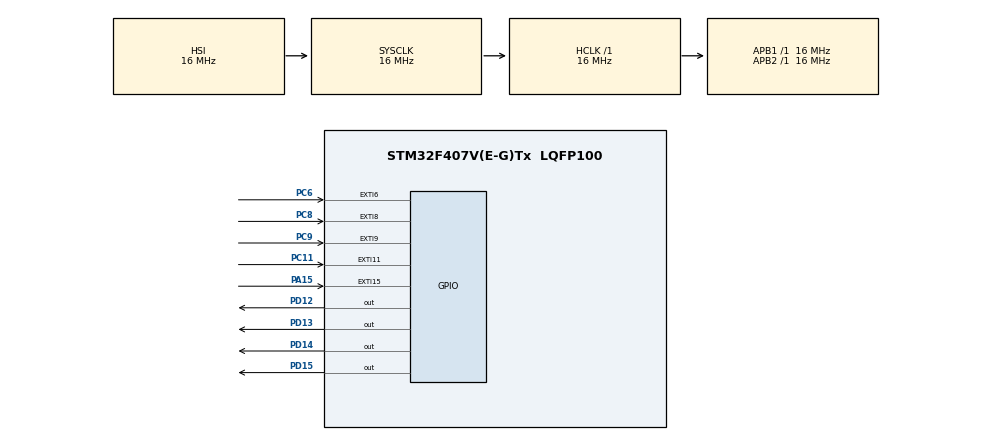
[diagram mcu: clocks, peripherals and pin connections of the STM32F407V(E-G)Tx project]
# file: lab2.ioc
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Mcu.Family=STM32F4
Mcu.Name=STM32F407V(E-G)Tx
Mcu.Package=LQFP100
NVIC.EXTI15_10_IRQn=true\:0\:0\:false\:false\:true\:true\:true
NVIC.EXTI9_5_IRQn=true\:0\:0\:false\:false\:true\:true\:true
NVIC.PriorityGroup=NVIC_PRIORITYGROUP_4
PA15.Signal=GPXTI15
PC11.Signal=GPXTI11
PC6.Signal=GPXTI6
PC8.Signal=GPXTI8
PC9.Signal=GPXTI9
PD12.Signal=GPIO_Output
PD13.Signal=GPIO_Output
PD14.Signal=GPIO_Output
PD15.Signal=GPIO_Output
ProjectManager.HeapSize=0x200
ProjectManager.StackSize=0x400
ProjectManager.TargetToolchain=STM32CubeIDE
RCC.AHBFreq_Value=16000000
RCC.APB1Freq_Value=16000000
RCC.APB2Freq_Value=16000000
RCC.CortexFreq_Value=16000000
RCC.HSE_VALUE=25000000
RCC.HSI_VALUE=16000000
RCC.LSE_VALUE=32768
RCC.SYSCLKFreq_VALUE=16000000
RCC.VCOOutputFreq_Value=192000000
board=custom

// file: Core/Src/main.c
/* USER CODE BEGIN Header */
/**
  ******************************************************************************
  * @file           : main.c
  * @brief          : Main program body
  ******************************************************************************
  * @attention
  *
  * <h2><center>&copy; Copyright (c) 2021 STMicroelectronics.
  * All rights reserved.</center></h2>
  *
  * This software component is licensed by ST under BSD 3-Clause license,
  * the "License"; You may not use this file except in compliance with the
  * License. You may obtain a copy of the License at:
  *                        opensource.org/licenses/BSD-3-Clause
  *
  ******************************************************************************
  */
/* USER CODE END Header */
#include "main.h"

/* USER CODE BEGIN PTD */
enum
{
	FORWARD,
	BACKWARD
};
/* USER CODE END PTD */

void SystemClock_Config(void);
static void MX_GPIO_Init(void);

/* USER CODE BEGIN 0 */

int8_t pl = 0;
int8_t mod = 1;
int16_t del1 = 400;

void Mod_switch (int8_t dir)
{
	  if(dir)
	  {
		  mod == 4 ? mod = 1 : mod++;
	  }
	  else
	  {
		  mod == 1 ? mod = 4 : mod--;
	  }
}

void All_blink()
{
		HAL_GPIO_WritePin(GPIOD, GPIO_PIN_12 | GPIO_PIN_13 | GPIO_PIN_14 | GPIO_PIN_15, GPIO_PIN_SET);
		HAL_Delay(del1);
		HAL_GPIO_WritePin(GPIOD, GPIO_PIN_12 | GPIO_PIN_13 | GPIO_PIN_14 | GPIO_PIN_15, GPIO_PIN_RESET);
		HAL_Delay(del1);
}

void Round_blink(int8_t dir)
{
		HAL_GPIO_WritePin(GPIOD, GPIO_PIN_12, GPIO_PIN_SET);
		HAL_Delay(del1);

		if(dir)
			HAL_GPIO_WritePin(GPIOD, GPIO_PIN_15, GPIO_PIN_SET);
		else
			HAL_GPIO_WritePin(GPIOD, GPIO_PIN_13, GPIO_PIN_SET);
		HAL_Delay(del1);

		HAL_GPIO_WritePin(GPIOD, GPIO_PIN_14, GPIO_PIN_SET);
		HAL_GPIO_WritePin(GPIOD, GPIO_PIN_12, GPIO_PIN_RESET);
		HAL_Delay(del1);

		HAL_GPIO_WritePin(GPIOD, GPIO_PIN_15, !dir);
		HAL_GPIO_WritePin(GPIOD, GPIO_PIN_13, dir);
		HAL_Delay(del1);

		HAL_GPIO_WritePin(GPIOD, GPIO_PIN_12, GPIO_PIN_SET);
		HAL_GPIO_WritePin(GPIOD, GPIO_PIN_14, GPIO_PIN_RESET);
		HAL_Delay(del1);

		if(dir)
			HAL_GPIO_WritePin(GPIOD, GPIO_PIN_13, GPIO_PIN_RESET);
		else
			HAL_GPIO_WritePin(GPIOD, GPIO_PIN_15, GPIO_PIN_RESET);
		HAL_Delay(del1);

		HAL_GPIO_WritePin(GPIOD, GPIO_PIN_12, GPIO_PIN_RESET);
		HAL_Delay(del1);
}

void Mod_3()
{
	  	HAL_GPIO_WritePin(GPIOD, GPIO_PIN_12, GPIO_PIN_SET);
	  	HAL_Delay(del1);

	  	HAL_GPIO_WritePin(GPIOD, GPIO_PIN_13, GPIO_PIN_SET);
	  	HAL_GPIO_WritePin(GPIOD, GPIO_PIN_12, GPIO_PIN_RESET);
	  	HAL_Delay(del1);

	  	HAL_GPIO_WritePin(GPIOD, GPIO_PIN_14, GPIO_PIN_SET);
	  	HAL_GPIO_WritePin(GPIOD, GPIO_PIN_13, GPIO_PIN_RESET);
	  	HAL_Delay(del1);

	  	HAL_GPIO_WritePin(GPIOD, GPIO_PIN_12, GPIO_PIN_SET);
	  	HAL_Delay(del1);

	  	HAL_GPIO_WritePin(GPIOD, GPIO_PIN_15, GPIO_PIN_SET);
	  	HAL_GPIO_WritePin(GPIOD, GPIO_PIN_12, GPIO_PIN_RESET);
	  	HAL_Delay(del1);

	  	HAL_GPIO_WritePin(GPIOD, GPIO_PIN_13, GPIO_PIN_SET);
	  	HAL_GPIO_WritePin(GPIOD, GPIO_PIN_15, GPIO_PIN_RESET);
	  	HAL_Delay(del1);

	  	HAL_GPIO_WritePin(GPIOD, GPIO_PIN_12, GPIO_PIN_SET);
	  	HAL_Delay(del1);

	  	HAL_GPIO_WritePin(GPIOD, GPIO_PIN_15, GPIO_PIN_SET);
	  	HAL_GPIO_WritePin(GPIOD, GPIO_PIN_12, GPIO_PIN_RESET);
	  	HAL_Delay(del1);

	  	HAL_GPIO_WritePin(GPIOD, GPIO_PIN_12, GPIO_PIN_SET);
	  	HAL_Delay(del1);

	  	HAL_GPIO_WritePin(GPIOD, GPIO_PIN_12 | GPIO_PIN_13 | GPIO_PIN_14 | GPIO_PIN_15, GPIO_PIN_RESET);
	  	HAL_Delay(del1);
}
/* USER CODE END 0 */

int main(void)
{

  /* MCU Configuration--------------------------------------------------------*/

  /* Reset of all peripherals, Initializes the Flash interface and the Systick. */
  HAL_Init();

  /* Configure the system clock */
  SystemClock_Config();

  /* Initialize all configured peripherals */
  MX_GPIO_Init();

  /* Infinite loop */
  /* USER CODE BEGIN WHILE */

  while (1)
  {
	  if( pl )
	  {
		  switch( mod )
		  {
		  	  case 1:
		  		  All_blink();
		  		  break;
			  case 2:
				  Round_blink(FORWARD);
				  break;
			  case 3:
				  Mod_3();
				  break;
			  case 4:
				  Round_blink(BACKWARD);
				  break;
			  default:
				  break;
		  }

	  }

    /* USER CODE END WHILE */

  }
}

void SystemClock_Config(void)
{
  RCC_OscInitTypeDef RCC_OscInitStruct = {0};
  RCC_ClkInitTypeDef RCC_ClkInitStruct = {0};

  /** Configure the main internal regulator output voltage
  */
  __HAL_RCC_PWR_CLK_ENABLE();
  __HAL_PWR_VOLTAGESCALING_CONFIG(PWR_REGULATOR_VOLTAGE_SCALE1);
  /** Initializes the RCC Oscillators according to the specified parameters
  * in the RCC_OscInitTypeDef structure.
  */
  RCC_OscInitStruct.OscillatorType = RCC_OSCILLATORTYPE_HSI;
  RCC_OscInitStruct.HSIState = RCC_HSI_ON;
  RCC_OscInitStruct.HSICalibrationValue = RCC_HSICALIBRATION_DEFAULT;
  RCC_OscInitStruct.PLL.PLLState = RCC_PLL_NONE;
  if (HAL_RCC_OscConfig(&RCC_OscInitStruct) != HAL_OK)
  {
    Error_Handler();
  }
  /** Initializes the CPU, AHB and APB buses clocks
  */
  RCC_ClkInitStruct.ClockType = RCC_CLOCKTYPE_HCLK|RCC_CLOCKTYPE_SYSCLK
                              |RCC_CLOCKTYPE_PCLK1|RCC_CLOCKTYPE_PCLK2;
  RCC_ClkInitStruct.SYSCLKSource = RCC_SYSCLKSOURCE_HSI;
  RCC_ClkInitStruct.AHBCLKDivider = RCC_SYSCLK_DIV1;
  RCC_ClkInitStruct.APB1CLKDivider = RCC_HCLK_DIV1;
  RCC_ClkInitStruct.APB2CLKDivider = RCC_HCLK_DIV1;

  if (HAL_RCC_ClockConfig(&RCC_ClkInitStruct, FLASH_LATENCY_0) != HAL_OK)
  {
    Error_Handler();
  }
}

static void MX_GPIO_Init(void)
{
  GPIO_InitTypeDef GPIO_InitStruct = {0};

  /* GPIO Ports Clock Enable */
  __HAL_RCC_GPIOD_CLK_ENABLE();
  __HAL_RCC_GPIOC_CLK_ENABLE();
  __HAL_RCC_GPIOA_CLK_ENABLE();

  /*Configure GPIO pin Output Level */
  HAL_GPIO_WritePin(GPIOD, GPIO_PIN_12|GPIO_PIN_13|GPIO_PIN_14|GPIO_PIN_15, GPIO_PIN_RESET);

  /*Configure GPIO pins : PD12 PD13 PD14 PD15 */
  GPIO_InitStruct.Pin = GPIO_PIN_12|GPIO_PIN_13|GPIO_PIN_14|GPIO_PIN_15;
  GPIO_InitStruct.Mode = GPIO_MODE_OUTPUT_PP;
  GPIO_InitStruct.Pull = GPIO_NOPULL;
  GPIO_InitStruct.Speed = GPIO_SPEED_FREQ_LOW;
  HAL_GPIO_Init(GPIOD, &GPIO_InitStruct);

  /*Configure GPIO pins : PC6 PC8 PC9 PC11 */
  GPIO_InitStruct.Pin = GPIO_PIN_6|GPIO_PIN_8|GPIO_PIN_9|GPIO_PIN_11;
  GPIO_InitStruct.Mode = GPIO_MODE_IT_RISING;
  GPIO_InitStruct.Pull = GPIO_NOPULL;
  HAL_GPIO_Init(GPIOC, &GPIO_InitStruct);

  /*Configure GPIO pin : PA15 */
  GPIO_InitStruct.Pin = GPIO_PIN_15;
  GPIO_InitStruct.Mode = GPIO_MODE_IT_RISING;
  GPIO_InitStruct.Pull = GPIO_NOPULL;
  HAL_GPIO_Init(GPIOA, &GPIO_InitStruct);

  /* EXTI interrupt init*/
  HAL_NVIC_SetPriority(EXTI9_5_IRQn, 0, 0);
  HAL_NVIC_EnableIRQ(EXTI9_5_IRQn);

  HAL_NVIC_SetPriority(EXTI15_10_IRQn, 0, 0);
  HAL_NVIC_EnableIRQ(EXTI15_10_IRQn);

}

/* USER CODE BEGIN 4 */

  void HAL_GPIO_EXTI_Callback(uint16_t GPIO_PIN)
  {
		if (GPIO_PIN == GPIO_PIN_15)
		{
			pl = !pl;
		}

		if (GPIO_PIN == GPIO_PIN_11)
		{
			Mod_switch(1);
		}

		if (GPIO_PIN == GPIO_PIN_9)
		{
			Mod_switch(0);
		}

		if (GPIO_PIN == GPIO_PIN_6)
		{
			del1 += 100;
		}

		if (GPIO_PIN == GPIO_PIN_8)
		{
			del1 -= 100;
			if(del1 < 100)
			{
				del1 = 50;
			}
		}
  }

/* USER CODE END 4 */

void Error_Handler(void)
{
  __disable_irq();
  while (1)
  {
  }
}

/************************ (C) COPYRIGHT STMicroelectronics *****END OF FILE****/
